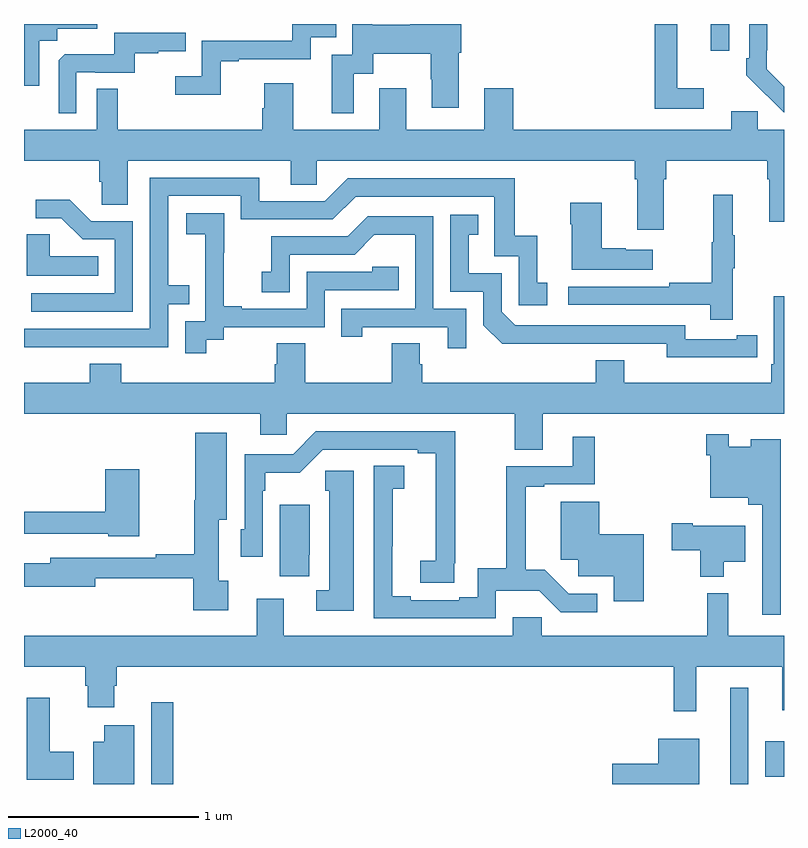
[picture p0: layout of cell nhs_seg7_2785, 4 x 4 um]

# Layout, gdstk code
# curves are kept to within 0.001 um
import gdstk
lib = gdstk.Library(unit=1e-6, precision=1e-09)
def R(c, l, rs):  # rectangles x0, y0, x1, y1
    for r in rs: c.add(gdstk.rectangle(r[:2], r[2:], *l))
def P(c, l, *ps):  # polygons
    for p in ps: c.add(gdstk.Polygon(p, *l))
L2000_40 = (2000, 40)

nhs_seg7_2785 = lib.new_cell('nhs_seg7_2785')
R(nhs_seg7_2785, L2000_40, [(291.669,1000,291.785,1000.429), (294.716,1000,294.813,1000.507), (294.902,1000.037,295,1000.225), (294.615,1003.86,294.711,1004)])
P(nhs_seg7_2785, L2000_40, [(295,1003.671),(294.909,1003.761),(294.909,1003.861),(294.912,1003.861),(294.912,1004),(294.816,1004),(294.816,1003.819),(294.801,1003.819),(294.801,1003.731),(294.998,1003.536),(295,1003.536)],
  [(294.577,1003.663),(294.437,1003.663),(294.437,1004),(294.319,1004),(294.319,1003.554),(294.577,1003.554)],
  [(292.035,1003.803),(292.129,1003.803),(292.129,1003.815),(292.509,1003.815),(292.509,1003.929),(292.643,1003.929),(292.643,1004),(292.413,1004),(292.413,1003.911),(291.936,1003.911),(291.936,1003.726),(291.795,1003.726),(291.795,1003.628),(292.035,1003.628)],
  [(292.735,1003.738),(292.837,1003.738),(292.837,1003.844),(293.14,1003.844),(293.14,1003.71),(293.147,1003.71),(293.147,1003.56),(293.287,1003.56),(293.287,1003.848),(293.3,1003.848),(293.3,1004),(293.033,1004),(293.033,1003.996),(292.833,1003.996),(292.833,1004),(292.728,1004),(292.728,1003.839),(292.619,1003.839),(292.619,1003.53),(292.735,1003.53)],
  [(291.079,1003.912),(291.174,1003.912),(291.174,1003.976),(291.385,1003.976),(291.385,1004),(291,1004),(291,1003.674),(291.079,1003.674)],
  [(291.276,1003.746),(291.376,1003.746),(291.376,1003.743),(291.584,1003.743),(291.584,1003.845),(291.707,1003.845),(291.707,1003.856),(291.851,1003.856),(291.851,1003.953),(291.474,1003.953),(291.474,1003.841),(291.215,1003.841),(291.183,1003.809),(291.183,1003.529),(291.276,1003.529)],
  [(294.861,1003.542),(294.722,1003.542),(294.722,1003.444),(293.576,1003.444),(293.576,1003.663),(293.423,1003.663),(293.423,1003.444),(293.011,1003.444),(293.011,1003.663),(292.871,1003.663),(292.871,1003.444),(292.417,1003.444),(292.417,1003.687),(292.265,1003.687),(292.265,1003.557),(292.253,1003.557),(292.253,1003.444),(291.493,1003.444),(291.493,1003.658),(291.384,1003.658),(291.384,1003.444),(291,1003.444),(291,1003.28),(291.395,1003.28),(291.395,1003.171),(291.408,1003.171),(291.408,1003.048),(291.547,1003.048),(291.547,1003.28),(292.403,1003.28),(292.403,1003.153),(292.542,1003.153),(292.542,1003.28),(294.215,1003.28),(294.215,1003.184),(294.227,1003.184),(294.227,1002.918),(294.367,1002.918),(294.367,1003.184),(294.38,1003.184),(294.38,1003.28),(294.911,1003.28),(294.911,1003.184),(294.923,1003.184),(294.923,1002.96),(295,1002.96),(295,1003.444),(294.861,1003.444)],
  [(291.263,1002.3),(291.759,1002.3),(291.759,1002.525),(291.869,1002.525),(291.869,1002.626),(291.759,1002.626),(291.759,1003.095),(292.14,1003.095),(292.14,1002.972),(292.626,1002.972),(292.746,1003.092),(293.475,1003.092),(293.475,1002.777),(293.604,1002.777),(293.604,1002.519),(293.755,1002.519),(293.755,1002.639),(293.702,1002.639),(293.702,1002.886),(293.584,1002.886),(293.584,1003.188),(292.704,1003.188),(292.584,1003.068),(292.237,1003.068),(292.237,1003.191),(291.663,1003.191),(291.663,1002.396),(291,1002.396),(291,1002.299)],
  [(294.731,1002.715),(294.742,1002.715),(294.742,1002.889),(294.731,1002.889),(294.731,1003.102),(294.628,1003.102),(294.628,1002.852),(294.621,1002.852),(294.621,1002.638),(294.397,1002.638),(294.397,1002.618),(293.865,1002.618),(293.865,1002.522),(294.613,1002.522),(294.613,1002.444),(294.731,1002.444)],
  [(291.573,1002.963),(291.354,1002.963),(291.241,1003.076),(291.063,1003.076),(291.063,1002.978),(291.197,1002.978),(291.308,1002.867),(291.477,1002.867),(291.477,1002.582),(291.039,1002.582),(291.039,1002.486),(291.573,1002.486)],
  [(294.31,1002.811),(294.167,1002.811),(294.167,1002.821),(294.04,1002.821),(294.04,1003.06),(293.875,1003.06),(293.875,1002.947),(293.882,1002.947),(293.882,1002.707),(294.31,1002.707)],
  [(291.958,1002.337),(292.05,1002.337),(292.05,1002.405),(292.584,1002.405),(292.584,1002.6),(292.973,1002.6),(292.973,1002.723),(292.833,1002.723),(292.833,1002.696),(292.488,1002.696),(292.488,1002.501),(292.147,1002.501),(292.147,1002.514),(292.052,1002.514),(292.052,1002.797),(292.053,1002.797),(292.053,1003.003),(291.855,1003.003),(291.855,1002.893),(291.953,1002.893),(291.953,1002.665),(291.954,1002.665),(291.954,1002.435),(291.849,1002.435),(291.849,1002.267),(291.958,1002.267)],
  [(294.752,1002.246),(294.86,1002.246),(294.86,1002.362),(294.752,1002.362),(294.752,1002.342),(294.48,1002.342),(294.48,1002.414),(293.586,1002.414),(293.514,1002.486),(293.514,1002.687),(293.341,1002.687),(293.341,1002.891),(293.39,1002.891),(293.39,1002.997),(293.244,1002.997),(293.244,1002.591),(293.418,1002.591),(293.418,1002.414),(293.516,1002.317),(294.384,1002.318),(294.384,1002.245)],
  [(293.328,1002.501),(293.154,1002.501),(293.154,1002.987),(292.808,1002.987),(292.703,1002.882),(292.3,1002.882),(292.3,1002.697),(292.251,1002.697),(292.251,1002.588),(292.398,1002.588),(292.398,1002.786),(292.74,1002.786),(292.844,1002.89),(293.058,1002.89),(293.058,1002.501),(292.669,1002.501),(292.669,1002.354),(292.78,1002.354),(292.78,1002.405),(293.231,1002.405),(293.231,1002.294),(293.328,1002.294)],
  [(291.392,1002.778),(291.135,1002.778),(291.135,1002.893),(291.014,1002.893),(291.014,1002.674),(291.392,1002.674)],
  [(293.731,1001.948),(295,1001.948),(295,1002.568),(294.945,1002.568),(294.945,1002.208),(294.932,1002.208),(294.932,1002.112),(294.16,1002.112),(294.16,1002.229),(294.008,1002.229),(294.008,1002.112),(293.096,1002.112),(293.096,1002.21),(293.083,1002.21),(293.083,1002.32),(292.936,1002.32),(292.936,1002.112),(292.479,1002.112),(292.479,1002.32),(292.331,1002.32),(292.331,1002.21),(292.319,1002.21),(292.319,1002.112),(291.512,1002.112),(291.512,1002.211),(291.347,1002.211),(291.347,1002.112),(291,1002.112),(291,1001.948),(292.244,1001.948),(292.244,1001.838),(292.383,1001.838),(292.383,1001.948),(293.584,1001.948),(293.584,1001.758),(293.731,1001.758)],
  [(293.264,1001.161),(293.27,1001.161),(293.27,1001.856),(292.536,1001.856),(292.416,1001.736),(292.161,1001.736),(292.161,1001.34),(292.14,1001.34),(292.14,1001.196),(292.257,1001.196),(292.257,1001.543),(292.27,1001.543),(292.27,1001.639),(292.451,1001.639),(292.572,1001.76),(293.072,1001.76),(293.072,1001.74),(293.168,1001.74),(293.167,1001.174),(293.085,1001.174),(293.085,1001.059),(293.264,1001.059)],
  [(292.075,1001.07),(292.024,1001.07),(292.024,1001.39),(292.066,1001.39),(292.066,1001.848),(291.902,1001.848),(291.902,1001.494),(291.895,1001.494),(291.895,1001.21),(291.694,1001.21),(291.694,1001.19),(291.137,1001.19),(291.137,1001.161),(291,1001.161),(291,1001.039),(291.376,1001.039),(291.376,1001.082),(291.89,1001.082),(291.89,1000.914),(292.075,1000.914)],
  [(294.982,1001.815),(294.824,1001.815),(294.824,1001.776),(294.708,1001.776),(294.708,1001.842),(294.592,1001.842),(294.592,1001.729),(294.612,1001.729),(294.612,1001.507),(294.812,1001.507),(294.812,1001.471),(294.885,1001.471),(294.885,1000.89),(294.982,1000.89)],
  [(293.484,1001.018),(293.713,1001.018),(293.826,1000.905),(294.016,1000.905),(294.016,1001.001),(293.868,1001.001),(293.741,1001.128),(293.642,1001.128),(293.642,1001.565),(293.737,1001.565),(293.737,1001.577),(294.005,1001.577),(294.005,1001.827),(293.888,1001.827),(293.888,1001.673),(293.539,1001.673),(293.539,1001.135),(293.388,1001.135),(293.388,1000.982),(293.291,1000.982),(293.291,1000.968),(293.035,1000.968),(293.035,1000.988),(292.939,1000.988),(292.939,1001.251),(292.941,1001.251),(292.941,1001.555),(293.002,1001.555),(293.002,1001.675),(292.842,1001.675),(292.842,1000.872),(293.484,1000.872)],
  [(291.606,1001.656),(291.428,1001.656),(291.428,1001.432),(291,1001.432),(291,1001.316),(291.444,1001.316),(291.444,1001.303),(291.606,1001.303)],
  [(292.735,1001.65),(292.585,1001.65),(292.585,1001.544),(292.607,1001.544),(292.607,1001.021),(292.539,1001.021),(292.539,1000.913),(292.735,1000.913)],
  [(294.262,1001.314),(294.028,1001.314),(294.028,1001.485),(293.825,1001.485),(293.825,1001.18),(293.916,1001.18),(293.916,1001.094),(294.104,1001.094),(294.104,1000.962),(294.262,1000.962)],
  [(292.502,1001.206),(292.504,1001.206),(292.504,1001.47),(292.346,1001.47),(292.346,1001.094),(292.502,1001.094)],
  [(294.682,1001.171),(294.796,1001.171),(294.796,1001.359),(294.52,1001.359),(294.52,1001.372),(294.408,1001.372),(294.408,1001.23),(294.56,1001.23),(294.56,1001.09),(294.682,1001.09)],
  [(294.539,1000.616),(294.992,1000.616),(294.992,1000.388),(295,1000.388),(295,1000.78),(294.707,1000.78),(294.707,1001.005),(294.597,1001.005),(294.597,1000.78),(293.725,1000.78),(293.725,1000.878),(293.573,1000.878),(293.573,1000.78),(292.366,1000.78),(292.366,1000.975),(292.226,1000.975),(292.226,1000.78),(291,1000.78),(291,1000.616),(291.323,1000.616),(291.323,1000.518),(291.335,1000.518),(291.335,1000.404),(291.475,1000.404),(291.475,1000.518),(291.488,1000.518),(291.488,1000.616),(294.421,1000.616),(294.421,1000.383),(294.539,1000.383)],
  [(291.262,1000.17),(291.136,1000.17),(291.136,1000.453),(291.014,1000.453),(291.014,1000.022),(291.262,1000.022)],
  [(291.58,1000.309),(291.422,1000.309),(291.422,1000.222),(291.365,1000.222),(291.365,1000),(291.58,1000)],
  [(294.553,1000.237),(294.338,1000.237),(294.338,1000.106),(294.096,1000.106),(294.096,1000),(294.553,1000)])

lib.write_gds('nhs_seg7_2785.gds')
